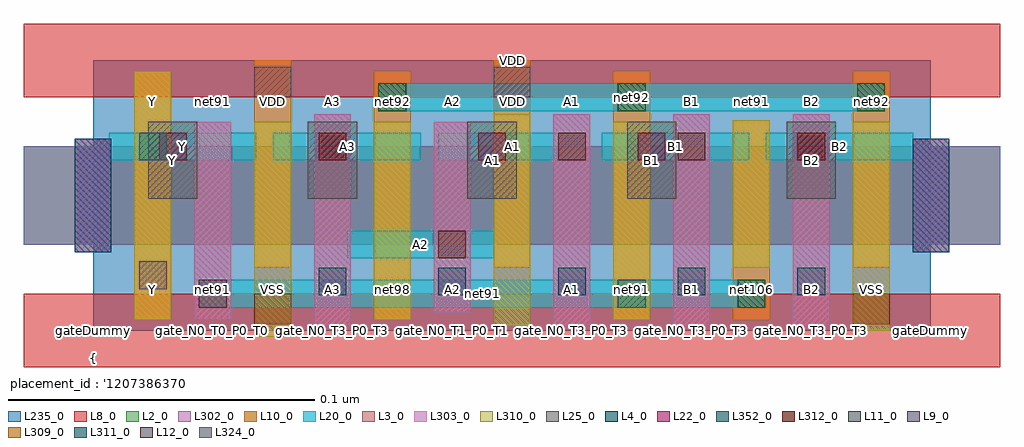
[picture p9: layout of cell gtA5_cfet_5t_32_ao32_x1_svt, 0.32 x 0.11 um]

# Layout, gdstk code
import gdstk
lib = gdstk.Library(unit=1e-6, precision=2.5e-10)
def R(c, l, rs):  # rectangles x0, y0, x1, y1
    for r in rs: c.add(gdstk.rectangle(r[:2], r[2:], *l))
def A(c, l, x, y, w, h, nx, ny, dx, dy):  # array of equal rectangles
    R(c, l, [(x+i*dx, y+j*dy, x+i*dx+w, y+j*dy+h) for i in range(nx) for j in range(ny)])
L2_0 = (2, 0)
L3_0 = (3, 0)
L4_0 = (4, 0)
L8_0 = (8, 0)
L9_0 = (9, 0)
L10_0 = (10, 0)
L11_0 = (11, 0)
L12_0 = (12, 0)
L20_0 = (20, 0)
L22_0 = (22, 0)
L25_0 = (25, 0)
L235_0 = (235, 0)
L302_0 = (302, 0)
L303_0 = (303, 0)
L309_0 = (309, 0)
L310_0 = (310, 0)
L311_0 = (311, 0)
L312_0 = (312, 0)
L324_0 = (324, 0)
L352_0 = (352, 0)

gta5_cfet_5t_32_ao32_x1_ = lib.new_cell('gtA5_cfet_5t_32_ao32_x1_svt')
R(gta5_cfet_5t_32_ao32_x1_, L2_0, [(-0.0225,0.028,0.2955,0.06)])
A(gta5_cfet_5t_32_ao32_x1_, L3_0, 0.15, 0.0015, 0.012, 0.069, 3, 1, 0.039, 0)
R(gta5_cfet_5t_32_ao32_x1_, L3_0, [(0.072,0.0015,0.084,0.0705), (0.033,0.0035,0.045,0.068), (0.111,0.006,0.123,0.068), (-0.006,0.0255,0.006,0.0625), (0.267,0.0255,0.279,0.0625)])
R(gta5_cfet_5t_32_ao32_x1_, L4_0, [(-0.006,0.0255,0.006,0.0625), (0.267,0.0255,0.279,0.0625)])
R(gta5_cfet_5t_32_ao32_x1_, L8_0, [(-0.0225,-0.012,0.2955,0.012), (-0.0225,0.076,0.2955,0.1)])
R(gta5_cfet_5t_32_ao32_x1_, L9_0, [(0.0525,0.076,0.0645,0.086), (0.1305,0.076,0.1425,0.086)])
A(gta5_cfet_5t_32_ao32_x1_, L10_0, 0.0135, 0.0035, 0.012, 0.081, 3, 1, 0.078, 0)
R(gta5_cfet_5t_32_ao32_x1_, L10_0, [(0.2085,0.0035,0.2205,0.0685), (0.0525,0.0205,0.0645,0.088), (0.1305,0.0205,0.1425,0.088), (0.2475,0.0205,0.2595,0.0845)])
A(gta5_cfet_5t_32_ao32_x1_, L11_0, 0.093, 0.0715, 0.009, 0.009, 3, 1, 0.078, 0)
R(gta5_cfet_5t_32_ao32_x1_, L11_0, [(0.21,0.0075,0.219,0.0165)])
R(gta5_cfet_5t_32_ao32_x1_, L12_0, [(0.0345,0.0075,0.0435,0.0165)])
R(gta5_cfet_5t_32_ao32_x1_, L20_0, [(0.0345,0.0075,0.219,0.0165), (0.0828,0.0235,0.1308,0.0325), (0.0053,0.0555,0.0532,0.0645), (0.0588,0.0555,0.1067,0.0645), (0.1125,0.0555,0.1605,0.0645), (0.1658,0.0555,0.2137,0.0645), (0.2193,0.0555,0.2672,0.0645), (0.093,0.0715,0.258,0.0805)])
A(gta5_cfet_5t_32_ao32_x1_, L22_0, 0.0215, 0.0555, 0.009, 0.009, 5, 1, 0.052, 0)
A(gta5_cfet_5t_32_ao32_x1_, L25_0, 0.018, 0.043, 0.016, 0.025, 5, 1, 0.052, 0)
R(gta5_cfet_5t_32_ao32_x1_, L235_0, [(0,0,0.273,0.088)])
R(gta5_cfet_5t_32_ao32_x1_, L302_0, [(-0.0225,0.028,0.2955,0.06)])
A(gta5_cfet_5t_32_ao32_x1_, L303_0, 0.15, 0.0015, 0.012, 0.069, 3, 1, 0.039, 0)
R(gta5_cfet_5t_32_ao32_x1_, L303_0, [(0.072,0.0015,0.084,0.0705), (0.033,0.0035,0.045,0.068), (0.111,0.006,0.123,0.068), (-0.006,0.0255,0.006,0.0625), (0.267,0.0255,0.279,0.0625)])
R(gta5_cfet_5t_32_ao32_x1_, L309_0, [(0.0525,0.002,0.0645,0.012), (0.2475,0.002,0.2595,0.012)])
R(gta5_cfet_5t_32_ao32_x1_, L310_0, [(0.0525,-0.002,0.0645,0.068), (0.2475,0,0.2595,0.068), (0.1305,0.0015,0.1425,0.0705), (0.0135,0.0035,0.0255,0.0845), (0.0915,0.0035,0.1035,0.068), (0.1695,0.0035,0.1815,0.068), (0.2085,0.0205,0.2205,0.0685)])
R(gta5_cfet_5t_32_ao32_x1_, L311_0, [(0.171,0.0075,0.18,0.0165), (0.015,0.0555,0.024,0.0645)])
A(gta5_cfet_5t_32_ao32_x1_, L312_0, 0.1515, 0.0555, 0.009, 0.009, 3, 1, 0.039, 0)
R(gta5_cfet_5t_32_ao32_x1_, L312_0, [(0.1125,0.0235,0.1215,0.0325), (0.0735,0.0555,0.0825,0.0645)])
R(gta5_cfet_5t_32_ao32_x1_, L324_0, [(0.015,0.0135,0.024,0.0225)])
A(gta5_cfet_5t_32_ao32_x1_, L352_0, 0.0735, 0.0115, 0.009, 0.009, 5, 1, 0.039, 0)
gta5_cfet_5t_32_ao32_x1_.add(gdstk.Label('net91', (0.1268,0.012), layer=100, texttype=100))
gta5_cfet_5t_32_ao32_x1_.add(gdstk.Label('Y', (0.0293,0.06), layer=100, texttype=100))
gta5_cfet_5t_32_ao32_x1_.add(gdstk.Label('A3', (0.0828,0.06), layer=100, texttype=100))
gta5_cfet_5t_32_ao32_x1_.add(gdstk.Label('A1', (0.1365,0.06), layer=100, texttype=100))
gta5_cfet_5t_32_ao32_x1_.add(gdstk.Label('B1', (0.1898,0.06), layer=100, texttype=100))
gta5_cfet_5t_32_ao32_x1_.add(gdstk.Label('B2', (0.2432,0.06), layer=100, texttype=100))
gta5_cfet_5t_32_ao32_x1_.add(gdstk.Label('net92', (0.1755,0.076), layer=100, texttype=100))
gta5_cfet_5t_32_ao32_x1_.add(gdstk.Label('gateDummy', (0,0), layer=103, texttype=103))
gta5_cfet_5t_32_ao32_x1_.add(gdstk.Label('sd_N0_T3_P0_T3', (0.0195,0), layer=103, texttype=103))
gta5_cfet_5t_32_ao32_x1_.add(gdstk.Label('gate_N0_T0_P0_T0', (0.039,0), layer=103, texttype=103))
gta5_cfet_5t_32_ao32_x1_.add(gdstk.Label('sd_N0_VSS_P0_VDD', (0.0585,0), layer=103, texttype=103))
gta5_cfet_5t_32_ao32_x1_.add(gdstk.Label('gate_N0_T3_P0_T3', (0.078,0), layer=103, texttype=103))
gta5_cfet_5t_32_ao32_x1_.add(gdstk.Label('sd_N0_abut_P0_T4', (0.0975,0), layer=103, texttype=103))
gta5_cfet_5t_32_ao32_x1_.add(gdstk.Label('gate_N0_T1_P0_T1', (0.117,0), layer=103, texttype=103))
gta5_cfet_5t_32_ao32_x1_.add(gdstk.Label('sd_P0_VDD', (0.1365,0), layer=103, texttype=103))
gta5_cfet_5t_32_ao32_x1_.add(gdstk.Label('gate_N0_T3_P0_T3', (0.156,0), layer=103, texttype=103))
gta5_cfet_5t_32_ao32_x1_.add(gdstk.Label('sd_N0_T0_P0_T4', (0.1755,0), layer=103, texttype=103))
gta5_cfet_5t_32_ao32_x1_.add(gdstk.Label('gate_N0_T3_P0_T3', (0.195,0), layer=103, texttype=103))
gta5_cfet_5t_32_ao32_x1_.add(gdstk.Label('sd_N0_abut_P0_T0', (0.2145,0), layer=103, texttype=103))
gta5_cfet_5t_32_ao32_x1_.add(gdstk.Label('gate_N0_T3_P0_T3', (0.234,0), layer=103, texttype=103))
gta5_cfet_5t_32_ao32_x1_.add(gdstk.Label('sd_N0_VSS_P0_T4', (0.2535,0), layer=103, texttype=103))
gta5_cfet_5t_32_ao32_x1_.add(gdstk.Label('gateDummy', (0.273,0), layer=103, texttype=103))
gta5_cfet_5t_32_ao32_x1_.add(gdstk.Label('}', (0,-0.0963), layer=104, texttype=104))
gta5_cfet_5t_32_ao32_x1_.add(gdstk.Label('  power : None', (0,-0.0875), layer=104, texttype=104))
gta5_cfet_5t_32_ao32_x1_.add(gdstk.Label('  performance : None', (0,-0.0788), layer=104, texttype=104))
gta5_cfet_5t_32_ao32_x1_.add(gdstk.Label("  solution_hash : '1118973890808395635'", (0,-0.07), layer=104, texttype=104))
gta5_cfet_5t_32_ao32_x1_.add(gdstk.Label('  number_m2 : 0', (0,-0.0612), layer=104, texttype=104))
gta5_cfet_5t_32_ao32_x1_.add(gdstk.Label('  number_m1 : 5', (0,-0.0525), layer=104, texttype=104))
gta5_cfet_5t_32_ao32_x1_.add(gdstk.Label('  number_m0cuts : 0', (0,-0.0438), layer=104, texttype=104))
gta5_cfet_5t_32_ao32_x1_.add(gdstk.Label('  number_m0 : 8', (0,-0.035), layer=104, texttype=104))
gta5_cfet_5t_32_ao32_x1_.add(gdstk.Label("  solution_number : '0000'", (0,-0.0262), layer=104, texttype=104))
gta5_cfet_5t_32_ao32_x1_.add(gdstk.Label("  placement_id : '12073863708365354503'", (0,-0.0175), layer=104, texttype=104))
gta5_cfet_5t_32_ao32_x1_.add(gdstk.Label('{', (0,-0.0088), layer=104, texttype=104))
gta5_cfet_5t_32_ao32_x1_.add(gdstk.Label('Y', (0.0195,0.0132), layer=105, texttype=105))
gta5_cfet_5t_32_ao32_x1_.add(gdstk.Label('net91', (0.039,0.0132), layer=105, texttype=105))
gta5_cfet_5t_32_ao32_x1_.add(gdstk.Label('VSS', (0.0585,0.0132), layer=105, texttype=105))
gta5_cfet_5t_32_ao32_x1_.add(gdstk.Label('A3', (0.078,0.0132), layer=105, texttype=105))
gta5_cfet_5t_32_ao32_x1_.add(gdstk.Label('net98', (0.0975,0.0132), layer=105, texttype=105))
gta5_cfet_5t_32_ao32_x1_.add(gdstk.Label('A2', (0.117,0.0132), layer=105, texttype=105))
gta5_cfet_5t_32_ao32_x1_.add(gdstk.Label('net97', (0.1365,0.0132), layer=105, texttype=105))
gta5_cfet_5t_32_ao32_x1_.add(gdstk.Label('A1', (0.156,0.0132), layer=105, texttype=105))
gta5_cfet_5t_32_ao32_x1_.add(gdstk.Label('net91', (0.1755,0.0132), layer=105, texttype=105))
gta5_cfet_5t_32_ao32_x1_.add(gdstk.Label('B1', (0.195,0.0132), layer=105, texttype=105))
gta5_cfet_5t_32_ao32_x1_.add(gdstk.Label('net106', (0.2145,0.0132), layer=105, texttype=105))
gta5_cfet_5t_32_ao32_x1_.add(gdstk.Label('B2', (0.234,0.0132), layer=105, texttype=105))
gta5_cfet_5t_32_ao32_x1_.add(gdstk.Label('VSS', (0.2535,0.0132), layer=105, texttype=105))
gta5_cfet_5t_32_ao32_x1_.add(gdstk.Label('Y', (0.0195,0.0747), layer=105, texttype=105))
gta5_cfet_5t_32_ao32_x1_.add(gdstk.Label('net91', (0.039,0.0747), layer=105, texttype=105))
gta5_cfet_5t_32_ao32_x1_.add(gdstk.Label('VDD', (0.0585,0.0747), layer=105, texttype=105))
gta5_cfet_5t_32_ao32_x1_.add(gdstk.Label('A3', (0.078,0.0747), layer=105, texttype=105))
gta5_cfet_5t_32_ao32_x1_.add(gdstk.Label('net92', (0.0975,0.0747), layer=105, texttype=105))
gta5_cfet_5t_32_ao32_x1_.add(gdstk.Label('A2', (0.117,0.0747), layer=105, texttype=105))
gta5_cfet_5t_32_ao32_x1_.add(gdstk.Label('VDD', (0.1365,0.0747), layer=105, texttype=105))
gta5_cfet_5t_32_ao32_x1_.add(gdstk.Label('A1', (0.156,0.0747), layer=105, texttype=105))
gta5_cfet_5t_32_ao32_x1_.add(gdstk.Label('net92', (0.1755,0.0747), layer=105, texttype=105))
gta5_cfet_5t_32_ao32_x1_.add(gdstk.Label('B1', (0.195,0.0747), layer=105, texttype=105))
gta5_cfet_5t_32_ao32_x1_.add(gdstk.Label('net91', (0.2145,0.0747), layer=105, texttype=105))
gta5_cfet_5t_32_ao32_x1_.add(gdstk.Label('B2', (0.234,0.0747), layer=105, texttype=105))
gta5_cfet_5t_32_ao32_x1_.add(gdstk.Label('net92', (0.2535,0.0747), layer=105, texttype=105))
gta5_cfet_5t_32_ao32_x1_.add(gdstk.Label('VSS', (0.1365,0), layer=8, texttype=0))
gta5_cfet_5t_32_ao32_x1_.add(gdstk.Label('VDD', (0.1365,0.088), layer=8, texttype=0))
gta5_cfet_5t_32_ao32_x1_.add(gdstk.Label('A2', (0.1067,0.028), layer=20, texttype=251))
gta5_cfet_5t_32_ao32_x1_.add(gdstk.Label('Y', (0.026,0.0555), layer=25, texttype=0))
gta5_cfet_5t_32_ao32_x1_.add(gdstk.Label('A3', (0.078,0.0555), layer=25, texttype=0))
gta5_cfet_5t_32_ao32_x1_.add(gdstk.Label('A1', (0.13,0.0555), layer=25, texttype=0))
gta5_cfet_5t_32_ao32_x1_.add(gdstk.Label('B1', (0.182,0.0555), layer=25, texttype=0))
gta5_cfet_5t_32_ao32_x1_.add(gdstk.Label('B2', (0.234,0.0555), layer=25, texttype=0))
gta5_cfet_5t_32_ao32_x1_.add(gdstk.Label('gtA5_cfet_5t_32_ao32_x1_rvt_0', (0,0), layer=235, texttype=0))

lib.write_gds('gtA5_cfet_5t_32_ao32_x1_svt.gds')
